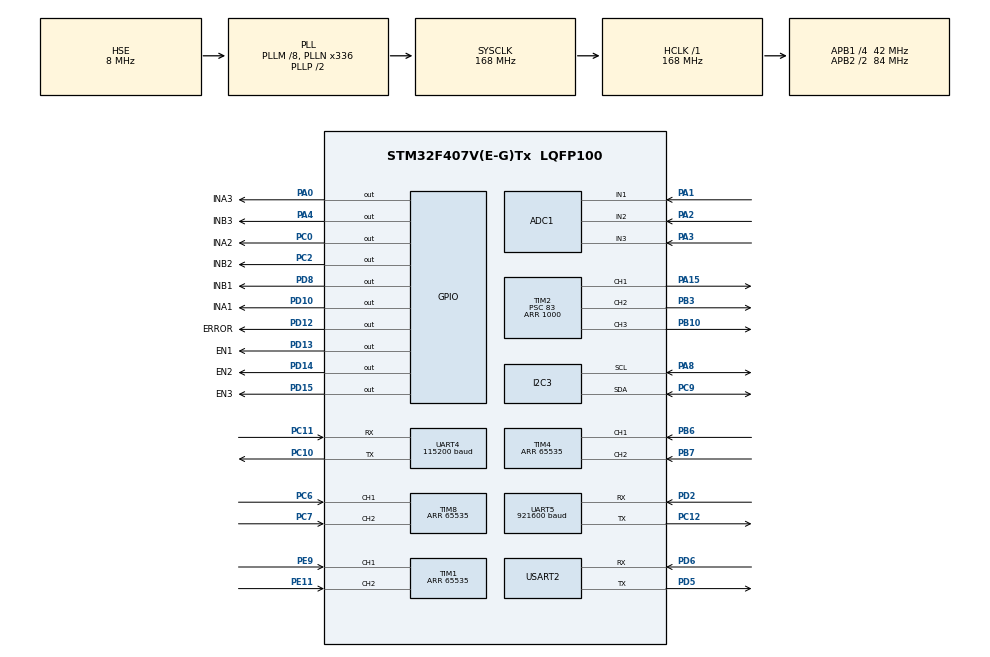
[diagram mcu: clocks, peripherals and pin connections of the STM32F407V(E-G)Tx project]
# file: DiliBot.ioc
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ADC1.Channel-0\#ChannelRegularConversion=ADC_CHANNEL_1
ADC1.NbrOfConversionFlag=1
ADC1.Rank-0\#ChannelRegularConversion=1
ADC1.SamplingTime-0\#ChannelRegularConversion=ADC_SAMPLETIME_3CYCLES
ADC1.master=1
Dma.Request0=UART5_RX
Dma.Request1=UART4_TX
Dma.UART4_TX.1.Direction=DMA_MEMORY_TO_PERIPH
Dma.UART4_TX.1.FIFOMode=DMA_FIFOMODE_DISABLE
Dma.UART4_TX.1.Instance=DMA1_Stream4
Dma.UART4_TX.1.MemDataAlignment=DMA_MDATAALIGN_BYTE
Dma.UART4_TX.1.MemInc=DMA_MINC_ENABLE
Dma.UART4_TX.1.Mode=DMA_NORMAL
Dma.UART4_TX.1.PeriphDataAlignment=DMA_PDATAALIGN_BYTE
Dma.UART4_TX.1.PeriphInc=DMA_PINC_DISABLE
Dma.UART4_TX.1.Priority=DMA_PRIORITY_LOW
Dma.UART5_RX.0.Direction=DMA_PERIPH_TO_MEMORY
Dma.UART5_RX.0.FIFOMode=DMA_FIFOMODE_ENABLE
Dma.UART5_RX.0.FIFOThreshold=DMA_FIFO_THRESHOLD_FULL
Dma.UART5_RX.0.Instance=DMA1_Stream0
Dma.UART5_RX.0.MemBurst=DMA_MBURST_SINGLE
Dma.UART5_RX.0.MemDataAlignment=DMA_MDATAALIGN_BYTE
Dma.UART5_RX.0.MemInc=DMA_MINC_ENABLE
Dma.UART5_RX.0.Mode=DMA_CIRCULAR
Dma.UART5_RX.0.PeriphBurst=DMA_PBURST_SINGLE
Dma.UART5_RX.0.PeriphDataAlignment=DMA_PDATAALIGN_BYTE
Dma.UART5_RX.0.PeriphInc=DMA_PINC_DISABLE
Dma.UART5_RX.0.Priority=DMA_PRIORITY_VERY_HIGH
Mcu.Family=STM32F4
Mcu.Name=STM32F407V(E-G)Tx
Mcu.Package=LQFP100
NVIC.DMA1_Stream0_IRQn=true\:0\:0\:false\:false\:true\:false
NVIC.DMA1_Stream4_IRQn=true\:0\:0\:false\:false\:true\:false
NVIC.PriorityGroup=NVIC_PRIORITYGROUP_4
NVIC.TIM6_DAC_IRQn=true\:0\:0\:false\:false\:true\:true
NVIC.UART4_IRQn=true\:0\:0\:false\:false\:true\:true
PA0-WKUP.GPIO_Label=INA3
PA0-WKUP.GPIO_PuPd=GPIO_NOPULL
PA0-WKUP.GPIO_Speed=GPIO_SPEED_FREQ_HIGH
PA0-WKUP.PinState=GPIO_PIN_SET
PA0-WKUP.Signal=GPIO_Output
PA1.Signal=ADCx_IN1
PA15.Signal=S_TIM2_CH1_ETR
PA2.Signal=ADCx_IN2
PA3.Signal=ADCx_IN3
PA4.GPIO_Label=INB3
PA4.GPIO_PuPd=GPIO_PULLDOWN
PA4.GPIO_Speed=GPIO_SPEED_FREQ_HIGH
PA4.PinState=GPIO_PIN_SET
PA4.Signal=GPIO_Output
PA8.Mode=I2C
PA8.Signal=I2C3_SCL
PB10.Signal=S_TIM2_CH3
PB3.Signal=S_TIM2_CH2
PB6.GPIO_PuPd=GPIO_PULLUP
PB6.Signal=S_TIM4_CH1
PB7.GPIO_PuPd=GPIO_PULLUP
PB7.Signal=S_TIM4_CH2
PC0.GPIO_Label=INA2
PC0.GPIO_PuPd=GPIO_PULLDOWN
PC0.GPIO_Speed=GPIO_SPEED_FREQ_HIGH
PC0.PinState=GPIO_PIN_SET
PC0.Signal=GPIO_Output
PC10.Mode=Asynchronous
PC10.Signal=UART4_TX
PC11.Mode=Asynchronous
PC11.Signal=UART4_RX
PC12.Mode=Asynchronous
PC12.Signal=UART5_TX
PC2.GPIO_Label=INB2
PC2.GPIO_PuPd=GPIO_PULLDOWN
PC2.GPIO_Speed=GPIO_SPEED_FREQ_HIGH
PC2.PinState=GPIO_PIN_SET
PC2.Signal=GPIO_Output
PC6.GPIO_PuPd=GPIO_PULLUP
PC6.Signal=S_TIM8_CH1
PC7.GPIO_PuPd=GPIO_PULLUP
PC7.Signal=S_TIM8_CH2
PC9.Mode=I2C
PC9.Signal=I2C3_SDA
PD10.GPIO_Label=INA1
PD10.GPIO_PuPd=GPIO_PULLDOWN
PD10.GPIO_Speed=GPIO_SPEED_FREQ_HIGH
PD10.PinState=GPIO_PIN_SET
PD10.Signal=GPIO_Output
PD12.GPIO_Label=ERROR
PD12.GPIO_PuPd=GPIO_PULLDOWN
PD12.GPIO_Speed=GPIO_SPEED_FREQ_HIGH
PD12.PinState=GPIO_PIN_SET
PD12.Signal=GPIO_Output
PD13.GPIO_Label=EN1
PD13.GPIO_PuPd=GPIO_PULLDOWN
PD13.GPIO_Speed=GPIO_SPEED_FREQ_HIGH
PD13.PinState=GPIO_PIN_SET
PD13.Signal=GPIO_Output
PD14.GPIO_Label=EN2
PD14.GPIO_PuPd=GPIO_PULLDOWN
PD14.GPIO_Speed=GPIO_SPEED_FREQ_HIGH
PD14.PinState=GPIO_PIN_SET
PD14.Signal=GPIO_Output
PD15.GPIO_Label=EN3
PD15.GPIO_PuPd=GPIO_PULLDOWN
PD15.GPIO_Speed=GPIO_SPEED_FREQ_HIGH
PD15.PinState=GPIO_PIN_SET
PD15.Signal=GPIO_Output
PD2.Mode=Asynchronous
PD2.Signal=UART5_RX
PD5.Mode=Asynchronous
PD5.Signal=USART2_TX
PD6.Mode=Asynchronous
PD6.Signal=USART2_RX
PD8.GPIO_Label=INB1
PD8.GPIO_PuPd=GPIO_PULLDOWN
PD8.GPIO_Speed=GPIO_SPEED_FREQ_HIGH
PD8.PinState=GPIO_PIN_SET
PD8.Signal=GPIO_Output
PE11.GPIO_PuPd=GPIO_PULLUP
PE11.Signal=S_TIM1_CH2
PE9.GPIO_PuPd=GPIO_PULLUP
PE9.Signal=S_TIM1_CH1
PH0-OSC_IN.Mode=HSE-External-Oscillator
PH0-OSC_IN.Signal=RCC_OSC_IN
PH1-OSC_OUT.Mode=HSE-External-Oscillator
PH1-OSC_OUT.Signal=RCC_OSC_OUT
ProjectManager.HeapSize=0x200
ProjectManager.StackSize=0x400
ProjectManager.TargetToolchain=MDK-ARM V5
RCC.48MHZClocksFreq_Value=84000000
RCC.AHBFreq_Value=168000000
RCC.APB1CLKDivider=RCC_HCLK_DIV4
RCC.APB1Freq_Value=42000000
RCC.APB1TimFreq_Value=84000000
RCC.APB2CLKDivider=RCC_HCLK_DIV2
RCC.APB2Freq_Value=84000000
RCC.APB2TimFreq_Value=168000000
RCC.CortexFreq_Value=168000000
RCC.HCLKFreq_Value=168000000
RCC.HSE_VALUE=8000000
RCC.HSI_VALUE=16000000
RCC.LSE_VALUE=32768
RCC.PLLM=8
RCC.PLLN=336
RCC.PLLSourceVirtual=RCC_PLLSOURCE_HSE
RCC.SYSCLKFreq_VALUE=168000000
RCC.SYSCLKSource=RCC_SYSCLKSOURCE_PLLCLK
RCC.VCOOutputFreq_Value=336000000
SH.ADCx_IN1.0=ADC1_IN1,IN1
SH.ADCx_IN2.0=ADC1_IN2,IN2
SH.ADCx_IN3.0=ADC1_IN3,IN3
SH.S_TIM1_CH1.0=TIM1_CH1,Encoder_Interface
SH.S_TIM1_CH2.0=TIM1_CH2,Encoder_Interface
SH.S_TIM2_CH1_ETR.0=TIM2_CH1,PWM Generation1 CH1
SH.S_TIM2_CH2.0=TIM2_CH2,PWM Generation2 CH2
SH.S_TIM2_CH3.0=TIM2_CH3,PWM Generation3 CH3
SH.S_TIM4_CH1.0=TIM4_CH1,Encoder_Interface
SH.S_TIM4_CH2.0=TIM4_CH2,Encoder_Interface
SH.S_TIM8_CH1.0=TIM8_CH1,Encoder_Interface
SH.S_TIM8_CH2.0=TIM8_CH2,Encoder_Interface
TIM1.CounterMode=TIM_COUNTERMODE_UP
TIM1.EncoderMode=TIM_ENCODERMODE_TI12
TIM1.Period=65535
TIM2.Channel-PWM\ Generation1\ CH1=TIM_CHANNEL_1
TIM2.Channel-PWM\ Generation2\ CH2=TIM_CHANNEL_2
TIM2.Channel-PWM\ Generation3\ CH3=TIM_CHANNEL_3
TIM2.Period=1000
TIM2.Prescaler=83
TIM4.CounterMode=TIM_COUNTERMODE_UP
TIM4.EncoderMode=TIM_ENCODERMODE_TI12
TIM4.Period=65535
TIM6.Period=9
TIM6.Prescaler=839
TIM8.CounterMode=TIM_COUNTERMODE_UP
TIM8.EncoderMode=TIM_ENCODERMODE_TI12
TIM8.Period=65535
UART4.BaudRate=115200
UART4.VirtualMode=Asynchronous
UART5.BaudRate=921600
UART5.VirtualMode=Asynchronous
USART2.VirtualMode=VM_ASYNC
VP_TIM6_VS_ClockSourceINT.Mode=Enable_Timer
board=CheckSPI

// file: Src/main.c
/* USER CODE BEGIN Header */
/**
  ******************************************************************************
  * @file           : main.c
  * @brief          : Main program body
  ******************************************************************************
  ** This notice applies to any and all portions of this file
  * that are not between comment pairs USER CODE BEGIN and
  * USER CODE END. Other portions of this file, whether
  * inserted by the user or by software development tools
  * are owned by their respective copyright owners.
  *
  * COPYRIGHT(c) 2019 STMicroelectronics
  *
  * Redistribution and use in source and binary forms, with or without modification,
  * are permitted provided that the following conditions are met:
  *   1. Redistributions of source code must retain the above copyright notice,
  *      this list of conditions and the following disclaimer.
  *   2. Redistributions in binary form must reproduce the above copyright notice,
  *      this list of conditions and the following disclaimer in the documentation
  *      and/or other materials provided with the distribution.
  *   3. Neither the name of STMicroelectronics nor the names of its contributors
  *      may be used to endorse or promote products derived from this software
  *      without specific prior written permission.
  *
  * THIS SOFTWARE IS PROVIDED BY THE COPYRIGHT HOLDERS AND CONTRIBUTORS "AS IS"
  * AND ANY EXPRESS OR IMPLIED WARRANTIES, INCLUDING, BUT NOT LIMITED TO, THE
  * IMPLIED WARRANTIES OF MERCHANTABILITY AND FITNESS FOR A PARTICULAR PURPOSE ARE
  * DISCLAIMED. IN NO EVENT SHALL THE COPYRIGHT HOLDER OR CONTRIBUTORS BE LIABLE
  * FOR ANY DIRECT, INDIRECT, INCIDENTAL, SPECIAL, EXEMPLARY, OR CONSEQUENTIAL
  * DAMAGES (INCLUDING, BUT NOT LIMITED TO, PROCUREMENT OF SUBSTITUTE GOODS OR
  * SERVICES; LOSS OF USE, DATA, OR PROFITS; OR BUSINESS INTERRUPTION) HOWEVER
  * CAUSED AND ON ANY THEORY OF LIABILITY, WHETHER IN CONTRACT, STRICT LIABILITY,
  * OR TORT (INCLUDING NEGLIGENCE OR OTHERWISE) ARISING IN ANY WAY OUT OF THE USE
  * OF THIS SOFTWARE, EVEN IF ADVISED OF THE POSSIBILITY OF SUCH DAMAGE.
  *
  ******************************************************************************
  */
/* USER CODE END Header */

#include "main.h"

/* USER CODE BEGIN Includes */
#include <math.h>
#include <string.h>

#include "timer.h"
#include "app.h"
#include "driver.h"
#include "mat_utility.h"
#include "dilibot.h"

/* USER CODE END Includes */

/* USER CODE BEGIN PD */
//#define LOG_SYSTEM       1
/* USER CODE END PD */

ADC_HandleTypeDef hadc1;

I2C_HandleTypeDef hi2c3;

TIM_HandleTypeDef htim1;
TIM_HandleTypeDef htim2;
TIM_HandleTypeDef htim4;
TIM_HandleTypeDef htim6;
TIM_HandleTypeDef htim8;

UART_HandleTypeDef huart4;
UART_HandleTypeDef huart5;
UART_HandleTypeDef huart2;
DMA_HandleTypeDef hdma_uart4_tx;
DMA_HandleTypeDef hdma_uart5_rx;

void SystemClock_Config(void);
static void MX_GPIO_Init(void);
static void MX_DMA_Init(void);
static void MX_TIM1_Init(void);
static void MX_TIM8_Init(void);
static void MX_UART5_Init(void);
static void MX_TIM2_Init(void);
static void MX_TIM4_Init(void);
static void MX_ADC1_Init(void);
static void MX_UART4_Init(void);
static void MX_TIM6_Init(void);
static void MX_I2C3_Init(void);
static void MX_USART2_UART_Init(void);

int main(void)
{
  /* USER CODE BEGIN 1 */
  int config_status = 0;
  /* USER CODE END 1 */

  /* MCU Configuration--------------------------------------------------------*/

  /* Reset of all peripherals, Initializes the Flash interface and the Systick. */
  HAL_Init();

  /* Configure the system clock */
  SystemClock_Config();

  /* USER CODE BEGIN SysInit */
  // Delay system 1s
  HAL_Delay(1000);
  /* USER CODE END SysInit */

  /* Initialize all configured peripherals */
  MX_GPIO_Init();
  MX_DMA_Init();
  MX_TIM1_Init();
  MX_TIM8_Init();
  MX_UART5_Init();
  MX_TIM2_Init();
  MX_TIM4_Init();
  MX_ADC1_Init();
  MX_UART4_Init();
  MX_TIM6_Init();
  MX_I2C3_Init();
  MX_USART2_UART_Init();
  /* USER CODE BEGIN 2 */

  /// Dili-Bot hello world and checking debug message
  printf("DILIBOT hello world\n");
  /// Initialize motor and encoder
  config_status  = motor_Init();
  config_status += encoder_Init();
  if (config_status != 0) Error_Handler();
  motor_DisableAll();
  HAL_Delay(500);

  /// One process dilibot
  if (0 != dilibot_sensorCalibInit()) {
    Error_Handler();
  }

  /// Enable all motor
  motor_EnableAll();
  /// Configurate IMU and start binary streaming

  /// ADIS IMU start
  if (HAL_OK != adisStartIRQ(&huart5)) Error_Handler();

  /// Start system timer tick
  HAL_TIM_Base_Start_IT(&htim6);
  /* USER CODE END 2 */

  /* Infinite loop */
  /* USER CODE BEGIN WHILE */
  while (1)
  {
    // Uncommand this line to check motor control API
    // PID_MotorTestProcess();
    system_processSystemState();

    /* USER CODE END WHILE */

  }
}

void SystemClock_Config(void)
{
  RCC_OscInitTypeDef RCC_OscInitStruct = {0};
  RCC_ClkInitTypeDef RCC_ClkInitStruct = {0};

  /**Configure the main internal regulator output voltage
  */
  __HAL_RCC_PWR_CLK_ENABLE();
  __HAL_PWR_VOLTAGESCALING_CONFIG(PWR_REGULATOR_VOLTAGE_SCALE1);
  /**Initializes the CPU, AHB and APB busses clocks
  */
  RCC_OscInitStruct.OscillatorType = RCC_OSCILLATORTYPE_HSE;
  RCC_OscInitStruct.HSEState = RCC_HSE_ON;
  RCC_OscInitStruct.PLL.PLLState = RCC_PLL_ON;
  RCC_OscInitStruct.PLL.PLLSource = RCC_PLLSOURCE_HSE;
  RCC_OscInitStruct.PLL.PLLM = 8;
  RCC_OscInitStruct.PLL.PLLN = 336;
  RCC_OscInitStruct.PLL.PLLP = RCC_PLLP_DIV2;
  RCC_OscInitStruct.PLL.PLLQ = 4;
  if (HAL_RCC_OscConfig(&RCC_OscInitStruct) != HAL_OK)
  {
    Error_Handler();
  }
  /**Initializes the CPU, AHB and APB busses clocks
  */
  RCC_ClkInitStruct.ClockType = RCC_CLOCKTYPE_HCLK|RCC_CLOCKTYPE_SYSCLK
                              |RCC_CLOCKTYPE_PCLK1|RCC_CLOCKTYPE_PCLK2;
  RCC_ClkInitStruct.SYSCLKSource = RCC_SYSCLKSOURCE_PLLCLK;
  RCC_ClkInitStruct.AHBCLKDivider = RCC_SYSCLK_DIV1;
  RCC_ClkInitStruct.APB1CLKDivider = RCC_HCLK_DIV4;
  RCC_ClkInitStruct.APB2CLKDivider = RCC_HCLK_DIV2;

  if (HAL_RCC_ClockConfig(&RCC_ClkInitStruct, FLASH_LATENCY_5) != HAL_OK)
  {
    Error_Handler();
  }
}

static void MX_ADC1_Init(void)
{

  ADC_ChannelConfTypeDef sConfig = {0};

  /**Configure the global features of the ADC (Clock, Resolution, Data Alignment and number of conversion)
  */
  hadc1.Instance = ADC1;
  hadc1.Init.ClockPrescaler = ADC_CLOCK_SYNC_PCLK_DIV4;
  hadc1.Init.Resolution = ADC_RESOLUTION_12B;
  hadc1.Init.ScanConvMode = DISABLE;
  hadc1.Init.ContinuousConvMode = DISABLE;
  hadc1.Init.DiscontinuousConvMode = DISABLE;
  hadc1.Init.ExternalTrigConvEdge = ADC_EXTERNALTRIGCONVEDGE_NONE;
  hadc1.Init.ExternalTrigConv = ADC_SOFTWARE_START;
  hadc1.Init.DataAlign = ADC_DATAALIGN_RIGHT;
  hadc1.Init.NbrOfConversion = 1;
  hadc1.Init.DMAContinuousRequests = DISABLE;
  hadc1.Init.EOCSelection = ADC_EOC_SINGLE_CONV;
  if (HAL_ADC_Init(&hadc1) != HAL_OK)
  {
    Error_Handler();
  }
  /**Configure for the selected ADC regular channel its corresponding rank in the sequencer and its sample time.
  */
  sConfig.Channel = ADC_CHANNEL_1;
  sConfig.Rank = 1;
  sConfig.SamplingTime = ADC_SAMPLETIME_3CYCLES;
  if (HAL_ADC_ConfigChannel(&hadc1, &sConfig) != HAL_OK)
  {
    Error_Handler();
  }

}

static void MX_I2C3_Init(void)
{

  hi2c3.Instance = I2C3;
  hi2c3.Init.ClockSpeed = 100000;
  hi2c3.Init.DutyCycle = I2C_DUTYCYCLE_2;
  hi2c3.Init.OwnAddress1 = 0;
  hi2c3.Init.AddressingMode = I2C_ADDRESSINGMODE_7BIT;
  hi2c3.Init.DualAddressMode = I2C_DUALADDRESS_DISABLE;
  hi2c3.Init.OwnAddress2 = 0;
  hi2c3.Init.GeneralCallMode = I2C_GENERALCALL_DISABLE;
  hi2c3.Init.NoStretchMode = I2C_NOSTRETCH_DISABLE;
  if (HAL_I2C_Init(&hi2c3) != HAL_OK)
  {
    Error_Handler();
  }

}

static void MX_TIM1_Init(void)
{

  TIM_Encoder_InitTypeDef sConfig = {0};
  TIM_MasterConfigTypeDef sMasterConfig = {0};

  htim1.Instance = TIM1;
  htim1.Init.Prescaler = 0;
  htim1.Init.CounterMode = TIM_COUNTERMODE_UP;
  htim1.Init.Period = 65535;
  htim1.Init.ClockDivision = TIM_CLOCKDIVISION_DIV1;
  htim1.Init.RepetitionCounter = 0;
  sConfig.EncoderMode = TIM_ENCODERMODE_TI12;
  sConfig.IC1Polarity = TIM_ICPOLARITY_RISING;
  sConfig.IC1Selection = TIM_ICSELECTION_DIRECTTI;
  sConfig.IC1Prescaler = TIM_ICPSC_DIV1;
  sConfig.IC1Filter = 0;
  sConfig.IC2Polarity = TIM_ICPOLARITY_RISING;
  sConfig.IC2Selection = TIM_ICSELECTION_DIRECTTI;
  sConfig.IC2Prescaler = TIM_ICPSC_DIV1;
  sConfig.IC2Filter = 0;
  if (HAL_TIM_Encoder_Init(&htim1, &sConfig) != HAL_OK)
  {
    Error_Handler();
  }
  sMasterConfig.MasterOutputTrigger = TIM_TRGO_RESET;
  sMasterConfig.MasterSlaveMode = TIM_MASTERSLAVEMODE_DISABLE;
  if (HAL_TIMEx_MasterConfigSynchronization(&htim1, &sMasterConfig) != HAL_OK)
  {
    Error_Handler();
  }

}

static void MX_TIM2_Init(void)
{

  TIM_MasterConfigTypeDef sMasterConfig = {0};
  TIM_OC_InitTypeDef sConfigOC = {0};

  htim2.Instance = TIM2;
  htim2.Init.Prescaler = 83;
  htim2.Init.CounterMode = TIM_COUNTERMODE_UP;
  htim2.Init.Period = 1000;
  htim2.Init.ClockDivision = TIM_CLOCKDIVISION_DIV1;
  if (HAL_TIM_PWM_Init(&htim2) != HAL_OK)
  {
    Error_Handler();
  }
  sMasterConfig.MasterOutputTrigger = TIM_TRGO_RESET;
  sMasterConfig.MasterSlaveMode = TIM_MASTERSLAVEMODE_DISABLE;
  if (HAL_TIMEx_MasterConfigSynchronization(&htim2, &sMasterConfig) != HAL_OK)
  {
    Error_Handler();
  }
  sConfigOC.OCMode = TIM_OCMODE_PWM1;
  sConfigOC.Pulse = 0;
  sConfigOC.OCPolarity = TIM_OCPOLARITY_HIGH;
  sConfigOC.OCFastMode = TIM_OCFAST_DISABLE;
  if (HAL_TIM_PWM_ConfigChannel(&htim2, &sConfigOC, TIM_CHANNEL_1) != HAL_OK)
  {
    Error_Handler();
  }
  if (HAL_TIM_PWM_ConfigChannel(&htim2, &sConfigOC, TIM_CHANNEL_2) != HAL_OK)
  {
    Error_Handler();
  }
  if (HAL_TIM_PWM_ConfigChannel(&htim2, &sConfigOC, TIM_CHANNEL_3) != HAL_OK)
  {
    Error_Handler();
  }
  HAL_TIM_MspPostInit(&htim2);

}

static void MX_TIM4_Init(void)
{

  TIM_Encoder_InitTypeDef sConfig = {0};
  TIM_MasterConfigTypeDef sMasterConfig = {0};

  htim4.Instance = TIM4;
  htim4.Init.Prescaler = 0;
  htim4.Init.CounterMode = TIM_COUNTERMODE_UP;
  htim4.Init.Period = 65535;
  htim4.Init.ClockDivision = TIM_CLOCKDIVISION_DIV1;
  sConfig.EncoderMode = TIM_ENCODERMODE_TI12;
  sConfig.IC1Polarity = TIM_ICPOLARITY_RISING;
  sConfig.IC1Selection = TIM_ICSELECTION_DIRECTTI;
  sConfig.IC1Prescaler = TIM_ICPSC_DIV1;
  sConfig.IC1Filter = 0;
  sConfig.IC2Polarity = TIM_ICPOLARITY_RISING;
  sConfig.IC2Selection = TIM_ICSELECTION_DIRECTTI;
  sConfig.IC2Prescaler = TIM_ICPSC_DIV1;
  sConfig.IC2Filter = 0;
  if (HAL_TIM_Encoder_Init(&htim4, &sConfig) != HAL_OK)
  {
    Error_Handler();
  }
  sMasterConfig.MasterOutputTrigger = TIM_TRGO_RESET;
  sMasterConfig.MasterSlaveMode = TIM_MASTERSLAVEMODE_DISABLE;
  if (HAL_TIMEx_MasterConfigSynchronization(&htim4, &sMasterConfig) != HAL_OK)
  {
    Error_Handler();
  }

}

static void MX_TIM6_Init(void)
{

  TIM_MasterConfigTypeDef sMasterConfig = {0};

  htim6.Instance = TIM6;
  htim6.Init.Prescaler = 839;
  htim6.Init.CounterMode = TIM_COUNTERMODE_UP;
  htim6.Init.Period = 9;
  if (HAL_TIM_Base_Init(&htim6) != HAL_OK)
  {
    Error_Handler();
  }
  sMasterConfig.MasterOutputTrigger = TIM_TRGO_RESET;
  sMasterConfig.MasterSlaveMode = TIM_MASTERSLAVEMODE_DISABLE;
  if (HAL_TIMEx_MasterConfigSynchronization(&htim6, &sMasterConfig) != HAL_OK)
  {
    Error_Handler();
  }

}

static void MX_TIM8_Init(void)
{

  TIM_Encoder_InitTypeDef sConfig = {0};
  TIM_MasterConfigTypeDef sMasterConfig = {0};

  htim8.Instance = TIM8;
  htim8.Init.Prescaler = 0;
  htim8.Init.CounterMode = TIM_COUNTERMODE_UP;
  htim8.Init.Period = 65535;
  htim8.Init.ClockDivision = TIM_CLOCKDIVISION_DIV1;
  htim8.Init.RepetitionCounter = 0;
  sConfig.EncoderMode = TIM_ENCODERMODE_TI12;
  sConfig.IC1Polarity = TIM_ICPOLARITY_RISING;
  sConfig.IC1Selection = TIM_ICSELECTION_DIRECTTI;
  sConfig.IC1Prescaler = TIM_ICPSC_DIV1;
  sConfig.IC1Filter = 0;
  sConfig.IC2Polarity = TIM_ICPOLARITY_RISING;
  sConfig.IC2Selection = TIM_ICSELECTION_DIRECTTI;
  sConfig.IC2Prescaler = TIM_ICPSC_DIV1;
  sConfig.IC2Filter = 0;
  if (HAL_TIM_Encoder_Init(&htim8, &sConfig) != HAL_OK)
  {
    Error_Handler();
  }
  sMasterConfig.MasterOutputTrigger = TIM_TRGO_RESET;
  sMasterConfig.MasterSlaveMode = TIM_MASTERSLAVEMODE_DISABLE;
  if (HAL_TIMEx_MasterConfigSynchronization(&htim8, &sMasterConfig) != HAL_OK)
  {
    Error_Handler();
  }

}

static void MX_UART4_Init(void)
{

  huart4.Instance = UART4;
  huart4.Init.BaudRate = 115200;
  huart4.Init.WordLength = UART_WORDLENGTH_8B;
  huart4.Init.StopBits = UART_STOPBITS_1;
  huart4.Init.Parity = UART_PARITY_NONE;
  huart4.Init.Mode = UART_MODE_TX_RX;
  huart4.Init.HwFlowCtl = UART_HWCONTROL_NONE;
  huart4.Init.OverSampling = UART_OVERSAMPLING_16;
  if (HAL_UART_Init(&huart4) != HAL_OK)
  {
    Error_Handler();
  }

}

static void MX_UART5_Init(void)
{

  huart5.Instance = UART5;
  huart5.Init.BaudRate = 921600;
  huart5.Init.WordLength = UART_WORDLENGTH_8B;
  huart5.Init.StopBits = UART_STOPBITS_1;
  huart5.Init.Parity = UART_PARITY_NONE;
  huart5.Init.Mode = UART_MODE_TX_RX;
  huart5.Init.HwFlowCtl = UART_HWCONTROL_NONE;
  huart5.Init.OverSampling = UART_OVERSAMPLING_16;
  if (HAL_UART_Init(&huart5) != HAL_OK)
  {
    Error_Handler();
  }

}

static void MX_USART2_UART_Init(void)
{

  huart2.Instance = USART2;
  huart2.Init.BaudRate = 115200;
  huart2.Init.WordLength = UART_WORDLENGTH_8B;
  huart2.Init.StopBits = UART_STOPBITS_1;
  huart2.Init.Parity = UART_PARITY_NONE;
  huart2.Init.Mode = UART_MODE_TX_RX;
  huart2.Init.HwFlowCtl = UART_HWCONTROL_NONE;
  huart2.Init.OverSampling = UART_OVERSAMPLING_16;
  if (HAL_UART_Init(&huart2) != HAL_OK)
  {
    Error_Handler();
  }

}

static void MX_DMA_Init(void)
{
  /* DMA controller clock enable */
  __HAL_RCC_DMA1_CLK_ENABLE();

  /* DMA interrupt init */
  /* DMA1_Stream0_IRQn interrupt configuration */
  HAL_NVIC_SetPriority(DMA1_Stream0_IRQn, 0, 0);
  HAL_NVIC_EnableIRQ(DMA1_Stream0_IRQn);
  /* DMA1_Stream4_IRQn interrupt configuration */
  HAL_NVIC_SetPriority(DMA1_Stream4_IRQn, 0, 0);
  HAL_NVIC_EnableIRQ(DMA1_Stream4_IRQn);

}

static void MX_GPIO_Init(void)
{
  GPIO_InitTypeDef GPIO_InitStruct = {0};

  /* GPIO Ports Clock Enable */
  __HAL_RCC_GPIOH_CLK_ENABLE();
  __HAL_RCC_GPIOC_CLK_ENABLE();
  __HAL_RCC_GPIOA_CLK_ENABLE();
  __HAL_RCC_GPIOE_CLK_ENABLE();
  __HAL_RCC_GPIOB_CLK_ENABLE();
  __HAL_RCC_GPIOD_CLK_ENABLE();

  /*Configure GPIO pin Output Level */
  HAL_GPIO_WritePin(GPIOC, INA2_Pin|INB2_Pin, GPIO_PIN_SET);

  /*Configure GPIO pin Output Level */
  HAL_GPIO_WritePin(GPIOA, INA3_Pin|INB3_Pin, GPIO_PIN_SET);

  /*Configure GPIO pin Output Level */
  HAL_GPIO_WritePin(GPIOD, INB1_Pin|INA1_Pin|ERROR_Pin|EN1_Pin
                          |EN2_Pin|EN3_Pin, GPIO_PIN_SET);

  /*Configure GPIO pins : INA2_Pin INB2_Pin */
  GPIO_InitStruct.Pin = INA2_Pin|INB2_Pin;
  GPIO_InitStruct.Mode = GPIO_MODE_OUTPUT_PP;
  GPIO_InitStruct.Pull = GPIO_PULLDOWN;
  GPIO_InitStruct.Speed = GPIO_SPEED_FREQ_HIGH;
  HAL_GPIO_Init(GPIOC, &GPIO_InitStruct);

  /*Configure GPIO pin : INA3_Pin */
  GPIO_InitStruct.Pin = INA3_Pin;
  GPIO_InitStruct.Mode = GPIO_MODE_OUTPUT_PP;
  GPIO_InitStruct.Pull = GPIO_NOPULL;
  GPIO_InitStruct.Speed = GPIO_SPEED_FREQ_HIGH;
  HAL_GPIO_Init(INA3_GPIO_Port, &GPIO_InitStruct);

  /*Configure GPIO pin : INB3_Pin */
  GPIO_InitStruct.Pin = INB3_Pin;
  GPIO_InitStruct.Mode = GPIO_MODE_OUTPUT_PP;
  GPIO_InitStruct.Pull = GPIO_PULLDOWN;
  GPIO_InitStruct.Speed = GPIO_SPEED_FREQ_HIGH;
  HAL_GPIO_Init(INB3_GPIO_Port, &GPIO_InitStruct);

  /*Configure GPIO pins : INB1_Pin INA1_Pin ERROR_Pin EN1_Pin
                           EN2_Pin EN3_Pin */
  GPIO_InitStruct.Pin = INB1_Pin|INA1_Pin|ERROR_Pin|EN1_Pin
                          |EN2_Pin|EN3_Pin;
  GPIO_InitStruct.Mode = GPIO_MODE_OUTPUT_PP;
  GPIO_InitStruct.Pull = GPIO_PULLDOWN;
  GPIO_InitStruct.Speed = GPIO_SPEED_FREQ_HIGH;
  HAL_GPIO_Init(GPIOD, &GPIO_InitStruct);

}

/* USER CODE BEGIN 4 */
/* This is source code out of configuration **********************************/
void HAL_UART_TxCpltCallback(UART_HandleTypeDef *huart) {
  //HAL_GPIO_TogglePin(GPIOD, GPIO_PIN_12);
}

/// @brief Timer6 application tick service routine
/// @param htim Pointer to timer handling, now we take care of timer 6 handle
//  *Note:  Timer 6 configurate to tick each 1/10 ms
//          If we need an 5ms -> set up 50 ticks
void HAL_TIM_PeriodElapsedCallback(TIM_HandleTypeDef *htim) {
  if (TIM6 == htim->Instance) {
    TIMER_ISR();
  }
}

/* USER CODE END 4 */

void Error_Handler(void)
{
  /* USER CODE BEGIN Error_Handler_Debug */
  /* User can add his own implementation to report the HAL error return state */
  motor_DisableAll();
  while(1) {
    HAL_GPIO_TogglePin(GPIOD, GPIO_PIN_12);
    HAL_Delay(200);
  }
  /* USER CODE END Error_Handler_Debug */
}

/************************ (C) COPYRIGHT STMicroelectronics *****END OF FILE****/
